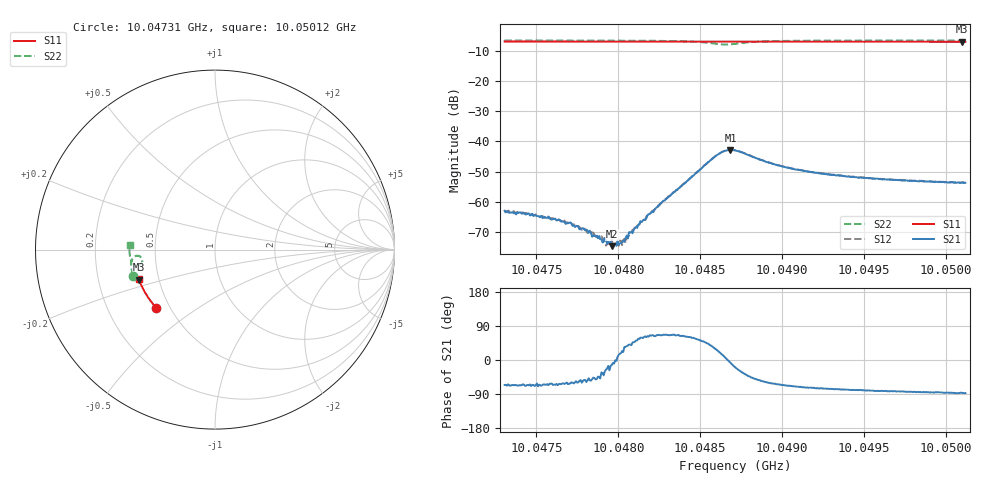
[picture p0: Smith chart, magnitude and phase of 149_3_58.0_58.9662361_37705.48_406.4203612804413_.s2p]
#  HZ  S  RI  R  50.00
! Rohde & Schwarz Vector Network Analyzer
! Rohde-Schwarz,ZNB20-2Port,1311601062101988,3.16
! Created: UTC 3/21/2024, 12:56:58 AM
! freq[Hz]  re:S11  im:S11  re:S21  im:S21  re:S12  im:S12  re:S22  im:S22
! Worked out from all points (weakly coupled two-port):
!   401 points, 10.04731 GHz to 10.05012 GHz, reference 50 ohm
!   highest |S21| = -42.85 dB at 10.04868 GHz (marker M1); lowest = -74.8 dB at 10.04796 GHz (marker M2)
!   lowest |S11| = -6.8 dB at 10.0501 GHz (marker M3), VSWR 2.67, Z = 19.3 - j8.12 ohm
!   |S11| at or under -10 dB: nowhere
!   |S22| runs from -7.8 to -6.4 dB; largest |S21 - S12| = 0.0005
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1.0047306e10  -0.3282 -0.3228  0.000287 -0.000641  0.000347 -0.00063  -0.4563 -0.145
1.0047426e10  -0.3335 -0.3167  0.000261 -0.000581  0.000306 -0.000555  -0.4588 -0.1366
1.0047629e10  -0.3424 -0.3066  0.000195 -0.00045  0.000241 -0.000432  -0.4621 -0.1225
1.0047777e10  -0.3486 -0.299  0.000177 -0.000305  0.000181 -0.000287  -0.4641 -0.1116
1.0047819e10  -0.3502 -0.2968  0.000201 -0.000226  0.00022 -0.000243  -0.4646 -0.1085
1.0047904e10  -0.3538 -0.2923  0.000173 -0.000117  0.000207 -0.000138  -0.4658 -0.1019
1.0047932e10  -0.3551 -0.2909  0.000183 -7.63e-05  0.000177 -8.39e-05  -0.4659 -0.0996
1.004796e10  -0.356 -0.2893  0.000177 -4.12e-05  0.000222 -6.97e-05  -0.4662 -0.0973
1.0047974e10  -0.3566 -0.2886  0.000191 -3.22e-05  0.000201 -2.9e-05  -0.4663 -0.0963
1.0048016e10  -0.3582 -0.2865  0.000195 6.43e-05  0.000207 8.27e-05  -0.4666 -0.0928
1.0048037e10  -0.3591 -0.2852  0.000177 0.000122  0.000199 0.000134  -0.4667 -0.0908
1.0048129e10  -0.3627 -0.2805  0.000235 0.000344  0.000222 0.000365  -0.4671 -0.0826
1.0048248e10  -0.3674 -0.2741  0.000345 0.000787  0.00031 0.000833  -0.4665 -0.0708
1.0048593e10  -0.3797 -0.2548  0.00494 0.00281  0.00477 0.0031  -0.4217 -0.036
1.0048642e10  -0.3813 -0.2522  0.0067 0.0013  0.00666 0.00167  -0.4072 -0.0504
1.0048684e10  -0.3825 -0.2501  0.00714 -0.000936  0.00724 -0.000456  -0.4063 -0.0694
1.0048712e10  -0.3835 -0.2486  0.0067 -0.00229  0.00691 -0.00183  -0.4126 -0.08
1.0048958e10  -0.3921 -0.2348  0.00189 -0.00366  0.00209 -0.00361  -0.4632 -0.0706
1.0049183e10  -0.3993 -0.2217  0.000876 -0.00295  0.00102 -0.00291  -0.4724 -0.0473
1.0049654e10  -0.4128 -0.1937  0.0003 -0.00231  0.000461 -0.00228  -0.4766 -0.00915
1.0050097e10  -0.4236 -0.1668  0.000115 -0.00207  0.000203 -0.00208  -0.4762 0.0224
1.0050118e10  -0.4242 -0.1653  9.22e-05 -0.00206  0.000239 -0.00201  -0.4763 0.0237
